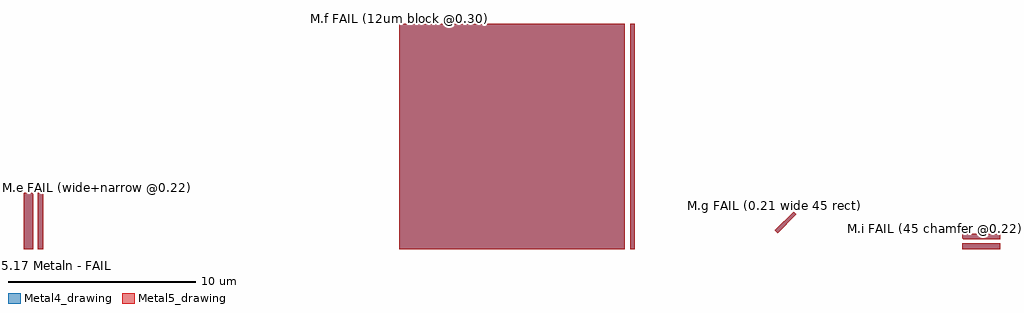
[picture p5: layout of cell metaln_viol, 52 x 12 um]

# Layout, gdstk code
import gdstk
lib = gdstk.Library(unit=1e-6, precision=1e-09)
def R(c, l, rs):  # rectangles x0, y0, x1, y1
    for r in rs: c.add(gdstk.rectangle(r[:2], r[2:], *l))
def P(c, l, *ps):  # polygons
    for p in ps: c.add(gdstk.Polygon(p, *l))
Metal4_drawing = (50, 0)
Metal5_drawing = (67, 0)

metaln_viol = lib.new_cell('metaln_viol')
R(metaln_viol, Metal4_drawing, [(0,0,0.5,3), (0.72,0,1.02,3), (20,0,32,12), (32.3,0,32.54,12), (50,0,52,0.3)])
P(metaln_viol, Metal4_drawing, [(40.15,0.85),(40,1),(41,2),(41.15,1.85)],
  [(50.05,0.52),(50,0.57),(50,0.82),(52,0.82),(52,0.52)])
R(metaln_viol, Metal5_drawing, [(0,0,0.5,3), (0.72,0,1.02,3), (20,0,32,12), (32.3,0,32.54,12), (50,0,52,0.3)])
P(metaln_viol, Metal5_drawing, [(40.15,0.85),(40,1),(41,2),(41.15,1.85)],
  [(50.05,0.52),(50,0.57),(50,0.82),(52,0.82),(52,0.52)])
metaln_viol.add(gdstk.Label('5.17 Metaln - FAIL', (0,-1), layer=63, texttype=0))
metaln_viol.add(gdstk.Label('M.e FAIL (wide+narrow @0.22)', (0,3.3), layer=63, texttype=0))
metaln_viol.add(gdstk.Label('M.f FAIL (12um block @0.30)', (20,12.3), layer=63, texttype=0))
metaln_viol.add(gdstk.Label('M.g FAIL (0.21 wide 45 rect)', (40,2.3), layer=63, texttype=0))
metaln_viol.add(gdstk.Label('M.i FAIL (45 chamfer @0.22)', (50,1.1), layer=63, texttype=0))

lib.write_gds('metaln_viol.gds')
